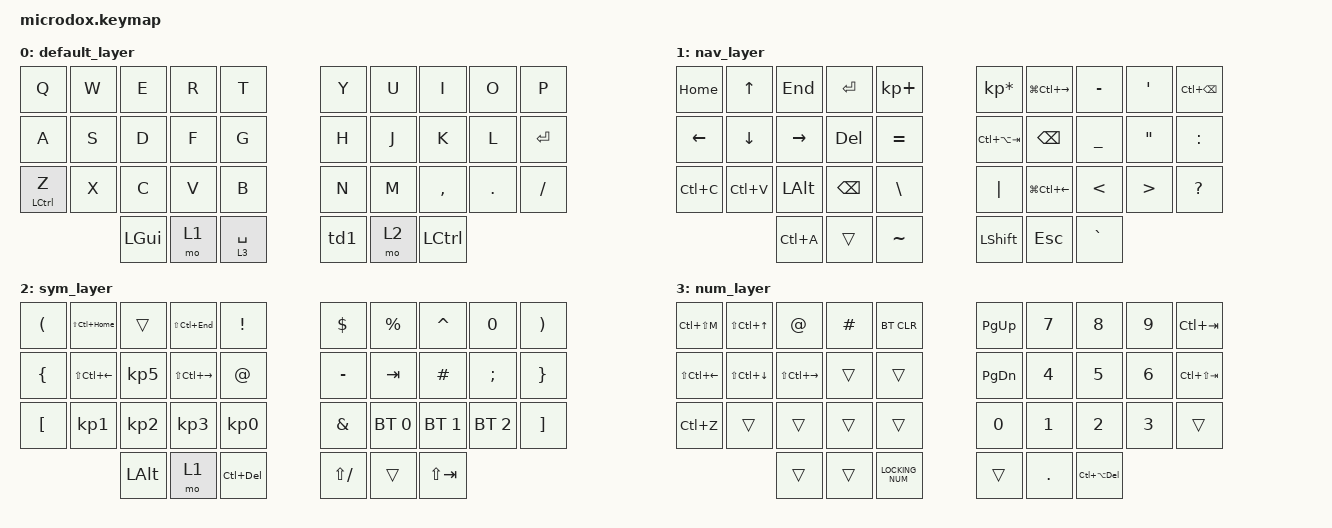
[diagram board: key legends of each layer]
/*
 * Copyright (c) 2020 The ZMK Contributors
 *
 * SPDX-License-Identifier: MIT
 */

#include <behaviors.dtsi>
#include <dt-bindings/zmk/keys.h>
#include <dt-bindings/zmk/bt.h>

// MOD TAB CTRL Z
&mt {
    tapping-term-ms = <200>;
};

// SHIFT AND CAPSLOCK
/ {
    behaviors {
        td1: tap_dance_0 {
            compatible = "zmk,behavior-tap-dance";
            label = "TAP_DANCE_0";
            #binding-cells = <0>;
            tapping-term-ms = <200>;
            bindings = <&kp LSHIFT>, <&kp CAPSLOCK>, <&kp CAPSLOCK>;
        };
    };
    };

/ {
    macros {
        zed_em_kay: zed_em_kay {
            label = "ZM_zed_em_kay";
            compatible = "zmk,behavior-macro";
            #binding-cells = <0>;
            bindings
                = <&macro_tap &kp HOME>
                , <&macro_press &kp LSHFT>
                , <&macro_tap &kp END>
                , <&macro_release &kp LSHFT>
                , <&macro_tap &kp BSPC>
                ;
        };
    };
};

/ {
    combos {
        compatible = "zmk,combos";
        combo_hash {  
            timeout-ms = <50>;
            key-positions = <17 18>;
            bindings = <&kp HASH>;
        };
       combo_tab {
            timeout-ms = <50>;
            key-positions = <11 12>;
            bindings = <&kp TAB>;
        };
       combo_sel_line_home {
            timeout-ms = <50>;
            key-positions = <0 1>;
            bindings = <&kp LS(HOME)>;
        };
       combo_sel_line_end {
            timeout-ms = <50>;
            key-positions = <8 9>;
            bindings = <&kp LS(END)>;
        };      
       combo_prev_line {
            timeout-ms = <50>;
            key-positions = <15 16>;
            bindings = <&kp LC(LA(LEFT))>;
        };  
        combo_win_copy {
            timeout-ms = <50>;
            key-positions = <21 22>;
            bindings = <&kp LG(V)>;
        };         
       combo_last_line {
            timeout-ms = <50>;
            key-positions = <21 23>;
            bindings = <&kp LC(END)>;
        };        
       combo_at {
            timeout-ms = <50>;
            key-positions = <1 2>;
            bindings = <&kp AT>;
        };   
       combo_mul {
            timeout-ms = <50>;
            key-positions = <6 7>;
            bindings = <&kp KP_MULTIPLY>;
        };
        combo_equal {
            timeout-ms = <50>;
            key-positions = <16 17>;
            bindings = <&kp EQUAL>;
        };    
        combo_plus {
            timeout-ms = <50>;
            key-positions = <26 27>;
            bindings = <&kp KP_PLUS>;
        };           
        combo_and {
            timeout-ms = <50>;
            key-positions = <27 28>;
            bindings = <&kp AMPS>;
        }; 
        combo_right_word {
            timeout-ms = <50>;
            key-positions = <12 13>;
            bindings = <&kp LS(LC(RIGHT))>;
        }; 
        combo_excel {
            timeout-ms = <50>;
            key-positions = <22 23>;
            bindings = <&kp EXCL>;
        };         
        combo_right_bksp { 
            timeout-ms = <50>;
            key-positions = <18 19>;
            bindings = <&kp BSPC>;
        };        
        combo_del_line {
            timeout-ms = <50>;
            key-positions = <12 17>;
            bindings = <&zed_em_kay>;
        };   
        combo_top { 
            timeout-ms = <50>;
            key-positions = <1 3>;
            bindings = <&kp LC(HOME)>;
        };  
        combo_shift_tab { 
            timeout-ms = <50>;
            key-positions = <11 13>;
            bindings = <&kp LS(TAB)>;
        };          
        combo_bot { 
            timeout-ms = <50>;
            key-positions = <21 23>;
            bindings = <&kp LC(END)>;
        }; 
        combo_copy {
            timeout-ms = <45>;
            key-positions = <11 12 13>;
            bindings = <&kp LC(C)>;        
        };
        combo_paste {
            timeout-ms = <45>;
            key-positions = <16 17 18>;
            bindings = <&kp LC(V)>;     
        };  
       select_all {
            timeout-ms = <45>;
            key-positions = <21 22 23>;
            bindings = <&kp LC(A)>;     
        };
        undo_recent {
            timeout-ms = <45>;
            key-positions = <26 27 28>;
            bindings = <&kp LC(Z)>;     
        }; 
        redo_recent {
            timeout-ms = <45>;
            key-positions = <26 28>;
            bindings = <&kp LC(LS(Z))>;     
        };
      ctrl_w {
            timeout-ms = <45>;
            key-positions = <16 18>;
            bindings = <&kp LC(W)>;     
        };
        
    };
};

    
/ {
        keymap {
                compatible = "zmk,keymap";

                default_layer {
// -----------------------------------------------------------------------------------------
// |  Q  |  W  |  E  |  R  |  T   |   |  Y  |  U   |  I  |  O  |  P  |
// |  A  |  S  |  D  |  F  |  G   |   |  H  |  J   |  K  |  L  |  ;  |
// |  Z  |  X  |  C  |  V  |  B   |   |  N  |  M   |  ,  |  .  |  /  |
//             | GUI | NAV | SHFT |   | SPC | SYM  | ALT |
                        bindings = <
   &kp Q  &kp W &kp E &kp R &kp T   &kp Y &kp U  &kp I     &kp O   &kp P
   &kp A &kp S &kp D &kp F &kp G   &kp H &kp J  &kp K     &kp L   &kp RET
   &mt LCTRL Z &kp X &kp C &kp V &kp B   &kp N &kp M  &kp COMMA &kp DOT &kp FSLH
          &kp LGUI &mo 1 &lt 3 SPACE &td1 &mo 2 &kp LCTRL
                        >;
                };
                nav_layer {
// -----------------------------------------------------------------------------------------
// |BTCLR|     | ESC |  ~   |     |   | TAB | HOME |  UP  | END | DEL  |
// | BT1 | GUI | ALT | CTRL | NUM |   |  /  | LEFT | DOWN | RGT | BKSP |
// | BT2 |     |     |      |     |   |  \  | ENT  |      |     |      |
//             |     |      |     |   |     |      |      |
                        bindings = <
   &kp HOME   &kp UP       &kp END        &kp RET     &kp KP_PLUS         &kp KP_MULTIPLY    &kp LG(LC(RIGHT))    &kp MINUS      &kp SQT     &kp LC(BSPC)
   &kp LEFT   &kp DOWN     &kp RIGHT      &kp DEL     &kp EQUAL           &kp LC(LA(TAB))    &kp BSPC             &kp UNDER      &kp DQT     &kp COLON
   &kp LC(C)  &kp LC(V)    &kp LALT       &kp BSPC    &kp BSLH            &kp PIPE           &kp LG(LC(LEFT))     &kp LT         &kp GT      &kp QMARK
                            &kp LC(A)    &trans     &kp TILDE          &kp LSHIFT  &kp ESC   &kp GRAVE
                        >;
                };

                sym_layer {
// -----------------------------------------------------------------------------------------
// |  !  |  @  |  #  |  $  |  %  |   |  ^  |  &  |  *  |  (  |  )  |
// |     |     |     |     |     |   |  -  |  =  |  {  |  }  | "|" |
// |     |     |     |     |     |   |  _  |  +  |  [  |  ]  |  \  |
//             | GUI |     | SPC |   | ENT |     | ALT |
                        bindings = <
   &kp LPAR    &kp LS(LC(HOME))          &trans    &kp LS(LC(END))            &kp EXCL        &kp DOLLAR &kp PRCNT     &kp CARET         &kp 0     &kp RPAR
   &kp LBRC    &kp LS(LC(LEFT))          &kp KP_N5     &kp LS(LC(RIGHT))          &kp AT          &kp MINUS  &kp TAB       &kp HASH          &kp SEMI       &kp RBRC
   &kp LBKT    &kp KP_N1                 &kp KP_N2     &kp KP_N3  &kp KP_N0       &kp AMPS   &bt BT_SEL 0  &bt BT_SEL 1      &bt BT_SEL 2   &kp RBKT
                       &kp LALT  &mo 1 &kp LC(DEL)             &kp LS(FSLH)      &trans         &kp LS(TAB)
                        >;
                };

// This layer is unreachable until "tri layer state" is sorted out.
// Leaving it here for completeness.
                num_layer {
// -----------------------------------------------------------------------------------------
// |     |     |     |     |     |   |  A  |  7  |  8  |  9  |  D  |
// |     |     |     |     |     |   |  B  |  4  |  5  |  6  |  E  |
// |     |     |     |     |     |   |  C  |  1  |  2  |  3  |  F  |
//             |     |     |     |   |  0  |  .  |     |
                        bindings = <
   &kp LC(LS(M))  &kp LS(LC(UP))        &kp AT      &kp HASH      &bt BT_CLR     &kp PAGE_UP     &kp N7  &kp N8 &kp N9 &kp LC(TAB)
   &kp LS(LC(LEFT))        &kp LS(LC(DOWN))  &kp LS(LC(RIGHT))    &trans  &trans                 &kp PAGE_DOWN   &kp N4  &kp N5 &kp N6 &kp LC(LS(TAB))
   &kp LC(Z)        &trans          &trans      &trans         &trans           &kp N0          &kp N1  &kp N2 &kp N3 &trans
                 &trans &trans &kp LOCKING_NUM   &trans &kp DOT &kp LC(LA(DEL))
                        >;
                };
        };
};
